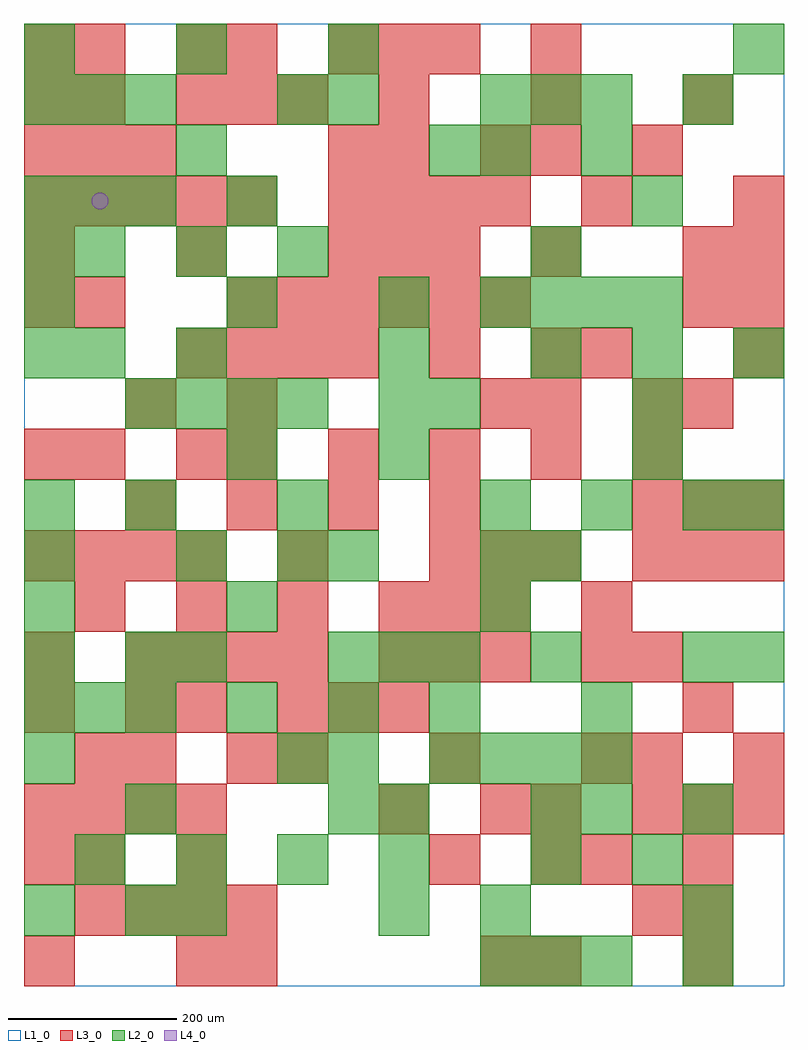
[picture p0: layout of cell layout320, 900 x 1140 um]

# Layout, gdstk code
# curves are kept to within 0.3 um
import gdstk
lib = gdstk.Library(unit=1e-6, precision=1e-09)
def R(c, l, rs):  # rectangles x0, y0, x1, y1
    for r in rs: c.add(gdstk.rectangle(r[:2], r[2:], *l))
def A(c, l, x, y, w, h, nx, ny, dx, dy):  # array of equal rectangles
    R(c, l, [(x+i*dx, y+j*dy, x+i*dx+w, y+j*dy+h) for i in range(nx) for j in range(ny)])
def P(c, l, *ps):  # polygons
    for p in ps: c.add(gdstk.Polygon(p, *l))
L1_0 = (1, 0)
L2_0 = (2, 0)
L3_0 = (3, 0)
L4_0 = (4, 0)

layout320 = lib.new_cell('layout320')
R(layout320, L1_0, [(0,0,900,1140)])
A(layout320, L2_0, 540, 0, 60, 60, 3, 2, 60, 1020)
A(layout320, L2_0, 60, 120, 60, 60, 4, 1, 120, 0)
A(layout320, L2_0, 120, 180, 60, 60, 1, 3, 0, 180)
A(layout320, L2_0, 480, 240, 60, 60, 4, 1, 60, 0)
A(layout320, L2_0, 0, 300, 60, 60, 3, 2, 60, 600)
A(layout320, L2_0, 240, 300, 60, 60, 3, 1, 120, 0)
A(layout320, L2_0, 0, 360, 60, 60, 1, 4, 0, 60)
A(layout320, L2_0, 360, 360, 60, 60, 3, 1, 60, 0)
A(layout320, L2_0, 240, 420, 60, 60, 1, 3, 0, 180)
A(layout320, L2_0, 180, 480, 60, 60, 1, 3, 0, 240)
A(layout320, L2_0, 540, 540, 60, 60, 3, 1, 120, 0)
A(layout320, L2_0, 420, 600, 60, 60, 1, 4, 0, 60)
A(layout320, L2_0, 120, 660, 60, 60, 4, 1, 60, 0)
A(layout320, L2_0, 0, 720, 60, 60, 1, 3, 0, 60)
A(layout320, L2_0, 600, 720, 60, 60, 3, 1, 120, 0)
A(layout320, L2_0, 540, 780, 60, 60, 4, 1, 60, 0)
A(layout320, L2_0, 60, 840, 60, 60, 3, 1, 120, 0)
A(layout320, L2_0, 0, 1020, 60, 60, 3, 1, 60, 0)
A(layout320, L2_0, 0, 1080, 60, 60, 3, 1, 180, 0)
R(layout320, L2_0, [(780,0,840,60), (0,60,60,120), (120,60,180,120), (180,60,240,120), (420,60,480,120), (540,60,600,120), (780,60,840,120), (600,120,660,180), (720,120,780,180), (360,180,420,240), (420,180,480,240), (600,180,660,240), (660,180,720,240), (780,180,840,240), (0,240,60,300), (300,240,360,300), (360,240,420,300), (660,300,720,360), (180,360,240,420), (600,360,660,420), (780,360,840,420), (840,360,900,420), (540,420,600,480), (300,480,360,540), (360,480,420,540), (540,480,600,540), (600,480,660,540), (300,540,360,600), (840,540,900,600), (720,600,780,660), (480,660,540,720), (720,660,780,720), (60,720,120,780), (600,840,660,900), (240,900,300,960), (720,900,780,960), (480,960,540,1020), (540,960,600,1020), (660,960,720,1020), (300,1020,360,1080), (360,1020,420,1080), (780,1020,840,1080), (840,1080,900,1140)])
A(layout320, L3_0, 780, 0, 60, 60, 1, 3, 0, 60)
A(layout320, L3_0, 60, 60, 60, 60, 4, 1, 60, 0)
A(layout320, L3_0, 480, 120, 60, 60, 1, 3, 0, 300)
A(layout320, L3_0, 0, 180, 60, 60, 4, 2, 60, 300)
A(layout320, L3_0, 540, 180, 60, 60, 1, 3, 0, 240)
A(layout320, L3_0, 720, 180, 60, 60, 3, 2, 60, 300)
A(layout320, L3_0, 240, 240, 60, 60, 1, 3, 0, 420)
A(layout320, L3_0, 300, 240, 60, 60, 3, 1, 180, 0)
A(layout320, L3_0, 300, 300, 60, 60, 3, 1, 60, 0)
A(layout320, L3_0, 120, 360, 60, 60, 4, 1, 60, 0)
A(layout320, L3_0, 420, 360, 60, 60, 3, 1, 60, 0)
A(layout320, L3_0, 720, 360, 60, 60, 1, 3, 0, 300)
A(layout320, L3_0, 60, 420, 60, 60, 4, 1, 120, 0)
A(layout320, L3_0, 480, 480, 60, 60, 3, 1, 60, 0)
A(layout320, L3_0, 120, 540, 60, 60, 4, 1, 120, 0)
A(layout320, L3_0, 720, 540, 60, 60, 3, 1, 60, 0)
A(layout320, L3_0, 240, 600, 60, 60, 5, 1, 120, 0)
A(layout320, L3_0, 180, 720, 60, 60, 4, 1, 60, 0)
A(layout320, L3_0, 600, 720, 60, 60, 1, 4, 0, 120)
A(layout320, L3_0, 840, 720, 60, 60, 1, 4, 0, 60)
A(layout320, L3_0, 240, 780, 60, 60, 6, 1, 60, 0)
A(layout320, L3_0, 0, 840, 60, 60, 3, 1, 180, 0)
A(layout320, L3_0, 0, 900, 60, 60, 5, 1, 60, 0)
A(layout320, L3_0, 360, 900, 60, 60, 4, 1, 60, 0)
A(layout320, L3_0, 0, 960, 60, 60, 3, 1, 60, 0)
A(layout320, L3_0, 180, 1020, 60, 60, 3, 1, 60, 0)
A(layout320, L3_0, 420, 1020, 60, 60, 3, 1, 180, 0)
A(layout320, L3_0, 360, 1080, 60, 60, 3, 1, 60, 0)
R(layout320, L3_0, [(0,0,60,60), (180,0,240,60), (240,0,300,60), (540,0,600,60), (600,0,660,60), (720,60,780,120), (0,120,60,180), (60,120,120,180), (180,120,240,180), (600,120,660,180), (660,120,720,180), (420,180,480,240), (600,180,660,240), (60,240,120,300), (120,240,180,300), (720,240,780,300), (840,240,900,300), (0,300,60,360), (120,300,180,360), (180,300,240,360), (780,300,840,360), (0,360,60,420), (660,360,720,420), (660,420,720,480), (300,480,360,540), (0,600,60,660), (60,600,120,660), (180,600,240,660), (120,660,180,720), (600,660,660,720), (780,660,840,720), (660,720,720,780), (0,780,60,840), (60,780,120,840), (780,780,840,840), (420,840,480,900), (480,840,540,900), (780,840,840,900), (660,900,720,960), (360,960,420,1020), (420,960,480,1020), (540,960,600,1020), (0,1020,60,1080), (60,1020,120,1080), (0,1080,60,1140), (60,1080,120,1140), (180,1080,240,1140)])
P(layout320, L4_0, [(100,930),(99.239,933.827),(97.071,937.071),(93.827,939.239),(90,940),(86.173,939.239),(82.929,937.071),(80.761,933.827),(80,930),(80.761,926.173),(82.929,922.929),(86.173,920.761),(90,920),(93.827,920.761),(97.071,922.929),(99.239,926.173)])

lib.write_gds('layout320.gds')
